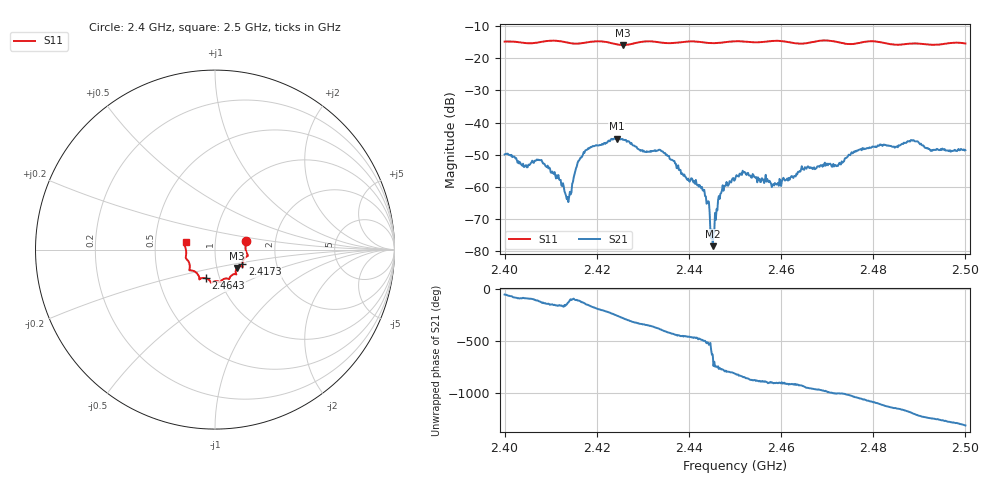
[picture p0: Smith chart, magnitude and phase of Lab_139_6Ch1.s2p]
# Hz S RI R 50
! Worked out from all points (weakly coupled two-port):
!   601 points, 2.4 GHz to 2.5 GHz, reference 50 ohm
!   highest |S21| = -44.98 dB at 2.4243 GHz (marker M1); lowest = -78.4 dB at 2.4452 GHz (marker M2)
!   lowest |S11| = -15.9 dB at 2.4257 GHz (marker M3), VSWR 1.38, Z = 62.4 - j13.1 ohm
!   |S11| at or under -10 dB: start of sweep to end of sweep
!   S12 and S22 are empty: the file has one direction only
!   S11 on the Smith chart (normalised r, x): 2.4 GHz: 1.41, +0.14; 2.4173 GHz: 1.34, -0.23; 2.4643 GHz: 0.86, -0.28; 2.5 GHz: 0.72, +0.06
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2.4e9  0.1737 0.0496  0.00189 -0.00258  0 0  0 0
2.4045e9  0.1704 0.0194  6.62e-05 -0.00216  0 0  0 0
2.407833e9  0.1771 -0.0197  -0.00147 -0.00215  0 0  0 0
2.413833e9  0.1668 -0.0453  -0.000356 -0.000462  0 0  0 0
2.416667e9  0.1528 -0.0749  -0.00174 -0.00228  0 0  0 0
2.417333e9  0.1522 -0.0824  -0.00247 -0.00234  0 0  0 0
2.424333e9  0.1332 -0.0951  -0.00143 0.00546  0 0  0 0
2.425667e9  0.1224 -0.1024  0.000938 0.00533  0 0  0 0
2.433333e9  0.1125 -0.1365  0.00355 -0.00113  0 0  0 0
2.442833e9  0.0708 -0.1623  -0.000596 -0.000806  0 0  0 0
2.443833e9  0.0643 -0.1606  -0.000516 -0.000192  0 0  0 0
2.445167e9  0.0538 -0.1621  -5.69e-06 0.000121  0 0  0 0
2.446833e9  0.0412 -0.1684  0.00057 -0.000539  0 0  0 0
2.45e9  0.0295 -0.1808  -2.19e-05 -0.0013  0 0  0 0
2.452167e9  0.0224 -0.1788  -0.00102 -0.00136  0 0  0 0
2.4585e9  -0.0203 -0.1843  -0.00106 -2.47e-05  0 0  0 0
2.464333e9  -0.0503 -0.1603  -0.00171 0.000718  0 0  0 0
2.466667e9  -0.0763 -0.1594  -0.00116 0.00163  0 0  0 0
2.483333e9  -0.1407 -0.0894  0.00297 -0.00318  0 0  0 0
2.488667e9  -0.1619 -0.0479  -0.00206 -0.00491  0 0  0 0
2.4925e9  -0.1605 -0.02  -0.00335 -0.00139  0 0  0 0
2.5e9  -0.1635 0.0416  -0.00257 0.00269  0 0  0 0
